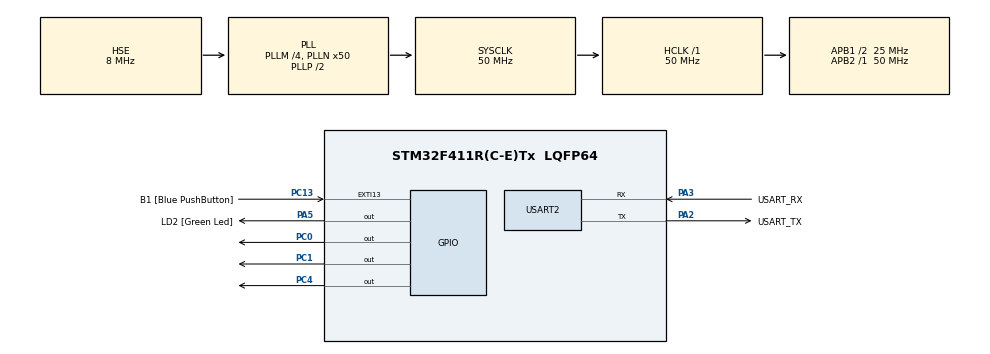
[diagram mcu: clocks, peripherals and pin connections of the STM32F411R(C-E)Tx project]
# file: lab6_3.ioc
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FREERTOS.BinarySemaphores01=myBinarySem01,Dynamic,NULL
FREERTOS.Tasks01=defaultTask,24,128,StartDefaultTask,Default,NULL,Dynamic,NULL,NULL;myTask02,24,512,StartTask02,Default,NULL,Dynamic,NULL,NULL;myTask03,40,512,StartTask03,Default,NULL,Dynamic,NULL,NULL
FREERTOS.Timers01=tim01,Callback01,osTimerPeriodic,Default,NULL,Dynamic,NULL;tim02,Callback02,osTimerPeriodic,Default,NULL,Dynamic,NULL;tim03,Callback03,osTimerPeriodic,Default,NULL,Dynamic,NULL;tim04,Callback04,osTimerPeriodic,Default,NULL,Dynamic,NULL
FREERTOS.configENABLE_FPU=1
FREERTOS.configTICK_RATE_HZ=1000
Mcu.Family=STM32F4
Mcu.Name=STM32F411R(C-E)Tx
Mcu.Package=LQFP64
NVIC.PriorityGroup=NVIC_PRIORITYGROUP_4
NVIC.TIM4_IRQn=true\:15\:0\:false\:false\:true\:false\:false\:true\:true
NVIC.TimeBase=TIM4_IRQn
NVIC.TimeBaseIP=TIM4
PA13.GPIO_Label=TMS
PA13.Mode=Serial_Wire
PA13.Signal=SYS_JTMS-SWDIO
PA14.GPIO_Label=TCK
PA14.Mode=Serial_Wire
PA14.Signal=SYS_JTCK-SWCLK
PA2.GPIO_Label=USART_TX
PA2.Mode=Asynchronous
PA2.Signal=USART2_TX
PA3.GPIO_Label=USART_RX
PA3.Mode=Asynchronous
PA3.Signal=USART2_RX
PA5.GPIO_Label=LD2 [Green Led]
PA5.Signal=GPIO_Output
PB3.GPIO_Label=SWO
PB3.Signal=SYS_JTDO-SWO
PC0.Signal=GPIO_Output
PC1.Signal=GPIO_Output
PC13-ANTI_TAMP.GPIO_Label=B1 [Blue PushButton]
PC13-ANTI_TAMP.GPIO_ModeDefaultEXTI=GPIO_MODE_IT_FALLING
PC13-ANTI_TAMP.Signal=GPXTI13
PC14-OSC32_IN.Mode=LSE-External-Oscillator
PC14-OSC32_IN.Signal=RCC_OSC32_IN
PC15-OSC32_OUT.Mode=LSE-External-Oscillator
PC15-OSC32_OUT.Signal=RCC_OSC32_OUT
PC4.Signal=GPIO_Output
PH0\ -\ OSC_IN.Mode=HSE-External-Clock-Source
PH0\ -\ OSC_IN.Signal=RCC_OSC_IN
PH1\ -\ OSC_OUT.Mode=HSE-External-Clock-Source
PH1\ -\ OSC_OUT.Signal=RCC_OSC_OUT
ProjectManager.HeapSize=0x200
ProjectManager.StackSize=0x400
ProjectManager.TargetToolchain=STM32CubeIDE
RCC.48MHZClocksFreq_Value=25000000
RCC.AHBFreq_Value=50000000
RCC.APB1CLKDivider=RCC_HCLK_DIV2
RCC.APB1Freq_Value=25000000
RCC.APB1TimFreq_Value=50000000
RCC.APB2Freq_Value=50000000
RCC.APB2TimFreq_Value=50000000
RCC.CortexFreq_Value=50000000
RCC.FLatency-AdvancedSettings=FLASH_LATENCY_1
RCC.HCLKFreq_Value=50000000
RCC.HSE_VALUE=8000000
RCC.HSI_VALUE=16000000
RCC.PLLM=4
RCC.PLLN=50
RCC.PLLSourceVirtual=RCC_PLLSOURCE_HSE
RCC.SYSCLKFreq_VALUE=50000000
RCC.SYSCLKSource=RCC_SYSCLKSOURCE_PLLCLK
RCC.VCOOutputFreq_Value=100000000
USART2.VirtualMode=VM_ASYNC
VP_FREERTOS_VS_CMSIS_V2.Mode=CMSIS_V2
VP_SYS_VS_tim4.Mode=TIM4
board=NUCLEO-F411RE

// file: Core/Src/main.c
/* USER CODE BEGIN Header */
/**
  ******************************************************************************
  * @file           : main.c
  * @brief          : Main program body
  ******************************************************************************
  * @attention
  *
  * Copyright (c) 2023 STMicroelectronics.
  * All rights reserved.
  *
  * This software is licensed under terms that can be found in the LICENSE file
  * in the root directory of this software component.
  * If no LICENSE file comes with this software, it is provided AS-IS.
  *
  ******************************************************************************
  */
/* USER CODE END Header */
#include "main.h"
#include "cmsis_os.h"

/* USER CODE BEGIN Includes */
#include <string.h>
#include <stdio.h>
/* USER CODE END Includes */

UART_HandleTypeDef huart2;

/* Definitions for defaultTask */
osThreadId_t defaultTaskHandle;
const osThreadAttr_t defaultTask_attributes = {
        .name = "defaultTask",
        .stack_size = 128 * 4,
        .priority = (osPriority_t) osPriorityNormal,
};
/* Definitions for myTask02 */
osThreadId_t myTask02Handle;
const osThreadAttr_t myTask02_attributes = {
        .name = "myTask02",
        .stack_size = 512 * 4,
        .priority = (osPriority_t) osPriorityNormal,
};
/* Definitions for myTask03 */
osThreadId_t myTask03Handle;
const osThreadAttr_t myTask03_attributes = {
        .name = "myTask03",
        .stack_size = 512 * 4,
        .priority = (osPriority_t) osPriorityHigh,
};
/* Definitions for tim01 */
osTimerId_t tim01Handle;
const osTimerAttr_t tim01_attributes = {
        .name = "tim01"
};
/* Definitions for tim02 */
osTimerId_t tim02Handle;
const osTimerAttr_t tim02_attributes = {
        .name = "tim02"
};
/* Definitions for tim03 */
osTimerId_t tim03Handle;
const osTimerAttr_t tim03_attributes = {
        .name = "tim03"
};
/* Definitions for tim04 */
osTimerId_t tim04Handle;
const osTimerAttr_t tim04_attributes = {
        .name = "tim04"
};
/* Definitions for myBinarySem01 */
osSemaphoreId_t myBinarySem01Handle;
const osSemaphoreAttr_t myBinarySem01_attributes = {
        .name = "myBinarySem01"
};

void SystemClock_Config(void);

static void MX_GPIO_Init(void);

static void MX_USART2_UART_Init(void);

void StartDefaultTask(void *argument);

void StartTask02(void *argument);

void StartTask03(void *argument);

void Callback01(void *argument);

void Callback02(void *argument);

void Callback03(void *argument);

void Callback04(void *argument);

int main(void) {

    /* MCU Configuration--------------------------------------------------------*/

    /* Reset of all peripherals, Initializes the Flash interface and the Systick. */
    HAL_Init();

    /* Configure the system clock */
    SystemClock_Config();

    /* Initialize all configured peripherals */
    MX_GPIO_Init();
    MX_USART2_UART_Init();

    /* Init scheduler */
    osKernelInitialize();

    /* Create the semaphores(s) */
    /* creation of myBinarySem01 */
    myBinarySem01Handle = osSemaphoreNew(1, 1, &myBinarySem01_attributes);

    /* Create the timer(s) */
    /* creation of tim01 */
    tim01Handle = osTimerNew(Callback01, osTimerPeriodic, NULL, &tim01_attributes);

    /* creation of tim02 */
    tim02Handle = osTimerNew(Callback02, osTimerPeriodic, NULL, &tim02_attributes);

    /* creation of tim03 */
    tim03Handle = osTimerNew(Callback03, osTimerPeriodic, NULL, &tim03_attributes);

    /* creation of tim04 */
    tim04Handle = osTimerNew(Callback04, osTimerPeriodic, NULL, &tim04_attributes);

    /* USER CODE BEGIN RTOS_TIMERS */
    /* start timers, add new ones, ... */
    osTimerStart(tim01Handle, 50);
    osTimerStart(tim02Handle, 18);
    osTimerStart(tim03Handle, 128);
    osTimerStart(tim04Handle, 64);
    /* USER CODE END RTOS_TIMERS */

    /* Create the thread(s) */
    /* creation of defaultTask */
    defaultTaskHandle = osThreadNew(StartDefaultTask, NULL, &defaultTask_attributes);

    /* creation of myTask02 */
    myTask02Handle = osThreadNew(StartTask02, NULL, &myTask02_attributes);

    /* creation of myTask03 */
    myTask03Handle = osThreadNew(StartTask03, NULL, &myTask03_attributes);

    /* Start scheduler */
    osKernelStart();
    /* We should never get here as control is now taken by the scheduler */
    /* Infinite loop */
    while (1) {

    }
}

void SystemClock_Config(void) {
    RCC_OscInitTypeDef RCC_OscInitStruct = {0};
    RCC_ClkInitTypeDef RCC_ClkInitStruct = {0};

    /** Configure the main internal regulator output voltage
    */
    __HAL_RCC_PWR_CLK_ENABLE();
    __HAL_PWR_VOLTAGESCALING_CONFIG(PWR_REGULATOR_VOLTAGE_SCALE1);

    /** Initializes the RCC Oscillators according to the specified parameters
    * in the RCC_OscInitTypeDef structure.
    */
    RCC_OscInitStruct.OscillatorType = RCC_OSCILLATORTYPE_HSE;
    RCC_OscInitStruct.HSEState = RCC_HSE_BYPASS;
    RCC_OscInitStruct.PLL.PLLState = RCC_PLL_ON;
    RCC_OscInitStruct.PLL.PLLSource = RCC_PLLSOURCE_HSE;
    RCC_OscInitStruct.PLL.PLLM = 4;
    RCC_OscInitStruct.PLL.PLLN = 50;
    RCC_OscInitStruct.PLL.PLLP = RCC_PLLP_DIV2;
    RCC_OscInitStruct.PLL.PLLQ = 4;
    if (HAL_RCC_OscConfig(&RCC_OscInitStruct) != HAL_OK) {
        Error_Handler();
    }

    /** Initializes the CPU, AHB and APB buses clocks
    */
    RCC_ClkInitStruct.ClockType = RCC_CLOCKTYPE_HCLK | RCC_CLOCKTYPE_SYSCLK
                                  | RCC_CLOCKTYPE_PCLK1 | RCC_CLOCKTYPE_PCLK2;
    RCC_ClkInitStruct.SYSCLKSource = RCC_SYSCLKSOURCE_PLLCLK;
    RCC_ClkInitStruct.AHBCLKDivider = RCC_SYSCLK_DIV1;
    RCC_ClkInitStruct.APB1CLKDivider = RCC_HCLK_DIV2;
    RCC_ClkInitStruct.APB2CLKDivider = RCC_HCLK_DIV1;

    if (HAL_RCC_ClockConfig(&RCC_ClkInitStruct, FLASH_LATENCY_1) != HAL_OK) {
        Error_Handler();
    }
}

static void MX_USART2_UART_Init(void) {

    huart2.Instance = USART2;
    huart2.Init.BaudRate = 115200;
    huart2.Init.WordLength = UART_WORDLENGTH_8B;
    huart2.Init.StopBits = UART_STOPBITS_1;
    huart2.Init.Parity = UART_PARITY_NONE;
    huart2.Init.Mode = UART_MODE_TX_RX;
    huart2.Init.HwFlowCtl = UART_HWCONTROL_NONE;
    huart2.Init.OverSampling = UART_OVERSAMPLING_16;
    if (HAL_UART_Init(&huart2) != HAL_OK) {
        Error_Handler();
    }

}

static void MX_GPIO_Init(void) {
    GPIO_InitTypeDef GPIO_InitStruct = {0};

    /* GPIO Ports Clock Enable */
    __HAL_RCC_GPIOC_CLK_ENABLE();
    __HAL_RCC_GPIOH_CLK_ENABLE();
    __HAL_RCC_GPIOA_CLK_ENABLE();
    __HAL_RCC_GPIOB_CLK_ENABLE();

    /*Configure GPIO pin Output Level */
    HAL_GPIO_WritePin(GPIOC, GPIO_PIN_0 | GPIO_PIN_1 | GPIO_PIN_4, GPIO_PIN_RESET);

    /*Configure GPIO pin Output Level */
    HAL_GPIO_WritePin(LD2_GPIO_Port, LD2_Pin, GPIO_PIN_RESET);

    /*Configure GPIO pin : B1_Pin */
    GPIO_InitStruct.Pin = B1_Pin;
    GPIO_InitStruct.Mode = GPIO_MODE_IT_FALLING;
    GPIO_InitStruct.Pull = GPIO_NOPULL;
    HAL_GPIO_Init(B1_GPIO_Port, &GPIO_InitStruct);

    /*Configure GPIO pins : PC0 PC1 PC4 */
    GPIO_InitStruct.Pin = GPIO_PIN_0 | GPIO_PIN_1 | GPIO_PIN_4;
    GPIO_InitStruct.Mode = GPIO_MODE_OUTPUT_PP;
    GPIO_InitStruct.Pull = GPIO_NOPULL;
    GPIO_InitStruct.Speed = GPIO_SPEED_FREQ_LOW;
    HAL_GPIO_Init(GPIOC, &GPIO_InitStruct);

    /*Configure GPIO pin : LD2_Pin */
    GPIO_InitStruct.Pin = LD2_Pin;
    GPIO_InitStruct.Mode = GPIO_MODE_OUTPUT_PP;
    GPIO_InitStruct.Pull = GPIO_NOPULL;
    GPIO_InitStruct.Speed = GPIO_SPEED_FREQ_LOW;
    HAL_GPIO_Init(LD2_GPIO_Port, &GPIO_InitStruct);

}

void StartDefaultTask(void *argument) {
    while (1) {
        osDelay(1);
    }
}

void StartTask02(void *argument) {
    /* USER CODE BEGIN StartTask02 */
    int thread_id = 0;
    int idx = 0;
    char buffer[32];
    /* Infinite loop */
    while (1) {
        osSemaphoreAcquire(myBinarySem01Handle, osWaitForever);
        sprintf(buffer, "TID: %d %d\r\n", thread_id, idx);
        idx++;
        HAL_UART_Transmit(&huart2, (uint8_t *) buffer, strlen(buffer), 1000);
        osSemaphoreRelease(myBinarySem01Handle);
        osDelay(10);
    }
    /* USER CODE END StartTask02 */
}

void StartTask03(void *argument) {
    /* USER CODE BEGIN StartTask03 */
    int thread_id = 1;
    int idx = 0;
    char buffer[32];
    /* Infinite loop */
    while (1) {
        osSemaphoreAcquire(myBinarySem01Handle, osWaitForever);
        sprintf(buffer, "TID: %d %d\r\n", thread_id, idx);
        idx++;
        HAL_UART_Transmit(&huart2, (uint8_t *) buffer, strlen(buffer), 1000);
        osSemaphoreRelease(myBinarySem01Handle);
        osDelay(10);
    }
    /* USER CODE END StartTask03 */
}

/* Callback01 function */
void Callback01(void *argument) {
    /* USER CODE BEGIN Callback01 */
    HAL_GPIO_TogglePin(GPIOA, GPIO_PIN_5);
    /* USER CODE END Callback01 */
}

/* Callback02 function */
void Callback02(void *argument) {
    /* USER CODE BEGIN Callback02 */
    HAL_GPIO_TogglePin(GPIOC, GPIO_PIN_0);
    /* USER CODE END Callback02 */
}

/* Callback03 function */
void Callback03(void *argument) {
    /* USER CODE BEGIN Callback03 */
    HAL_GPIO_TogglePin(GPIOC, GPIO_PIN_1);
    /* USER CODE END Callback03 */
}

/* Callback04 function */
void Callback04(void *argument) {
    /* USER CODE BEGIN Callback04 */
    HAL_GPIO_TogglePin(GPIOC, GPIO_PIN_4);
    /* USER CODE END Callback04 */
}

void HAL_TIM_PeriodElapsedCallback(TIM_HandleTypeDef *htim) {
    if (htim->Instance == TIM4) {
        HAL_IncTick();
    }
}

void Error_Handler(void) {
    __disable_irq();
    while (1) {
    }
}
